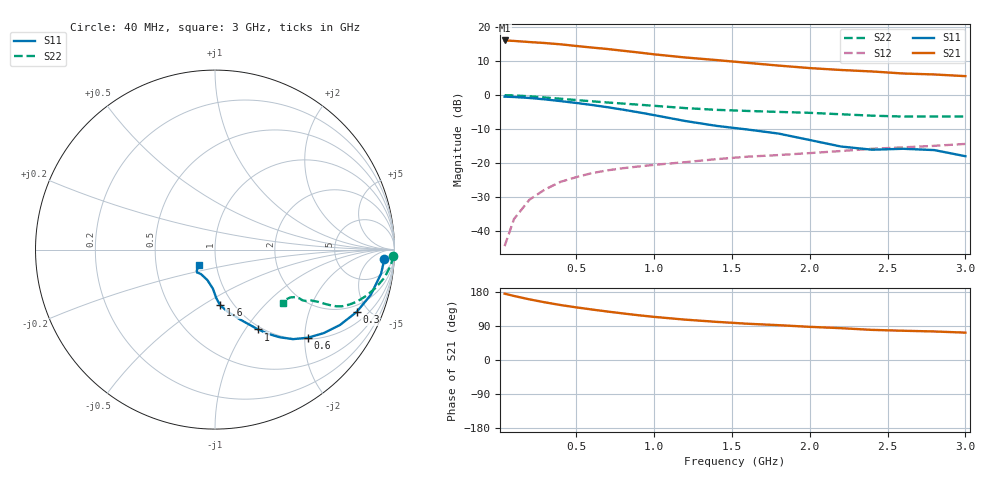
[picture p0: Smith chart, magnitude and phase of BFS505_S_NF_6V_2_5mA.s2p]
! Filename:  BFS505I.S2P  Version:  4.0
! Philips part #: BFS505  Date: Jun 1994
! Bias condition: Vce=6V, Ic=2.5mA
#  MHz  S  MA  R  50
! Freq  S11  S21  S12  S22  !GUM [dB]
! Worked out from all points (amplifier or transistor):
!   21 points, 40 MHz to 3 GHz, reference 50 ohm
!   highest |S21| = 16.0 dB at 40 MHz (marker M1)
!   |S21| within 3 dB of that: start of sweep to 795.6 MHz
!   unconditionally stable (mu >= 1): 1.617 GHz to end of sweep
!   at 300 MHz: K = 0.30, MSG = 21.5 dB, |S12| = -27.7 dB
!   at 1 GHz: K = 0.75, MSG = 16.2 dB, |S12| = -20.5 dB
!   at 3 GHz: K = 1.18, MAG = 7.4 dB, |S12| = -14.4 dB
!   lowest NFmin = 1.10 dB at 500 MHz
!   S11 on the Smith chart (normalised r, x): 40 MHz: 17, -18; 300 MHz: 1.55, -4.20; 600 MHz: 1.04, -2.08; 1 GHz: 0.96, -1.15; 1.6 GHz: 0.87, -0.60; 3 GHz: 0.82, -0.15
40  0.945 -3.3  6.332 175.1  0.006 85.0  0.993 -1.9
100  0.935 -8.2  6.233 169.0  0.015 83.1  0.985 -4.9
200  0.904 -16.2  6 160.0  0.029 77.5  0.957 -9.4
300  0.862 -23.8  5.801 152.1  0.041 73.3  0.919 -13.5
400  0.813 -31.1  5.557 145.0  0.053 69.8  0.881 -17.0
500  0.764 -37.5  5.254 138.9  0.062 66.8  0.843 -20.1
600  0.714 -43.4  4.982 133.3  0.071 64.7  0.808 -22.3
700  0.662 -48.9  4.744 127.9  0.078 63.5  0.776 -24.0
800  0.609 -53.4  4.471 122.9  0.084 62.5  0.748 -25.0
900  0.557 -57.6  4.216 118.1  0.089 61.4  0.721 -25.6
1000  0.506 -61.6  3.961 113.8  0.094 60.5  0.694 -26.1
1200  0.415 -70.1  3.559 106.5  0.103 59.6  0.642 -26.9
1400  0.352 -78.6  3.264 100.7  0.114 59.9  0.605 -27.9
1600  0.311 -84.8  2.969 95.7  0.124 60.0  0.583 -29.4
1800  0.271 -88.4  2.705 91.9  0.131 61.0  0.564 -30.1
2000  0.218 -93.1  2.487 87.5  0.14 61.5  0.547 -30.0
2200  0.175 -104.0  2.332 84.0  0.15 62.2  0.521 -30.5
2400  0.157 -120.1  2.217 79.5  0.162 62.5  0.497 -32.4
2600  0.162 -128.1  2.07 77.2  0.17 62.6  0.482 -35.4
2800  0.155 -131.0  2.003 75.3  0.179 64.2  0.483 -37.5
3000  0.126 -135.6  1.893 72.2  0.191 64.8  0.483 -38.2
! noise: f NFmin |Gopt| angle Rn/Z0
500  1.1  0.692  8  0.66
900  1.25  0.612  9  0.7
2000  1.9  0.439  36  0.58
